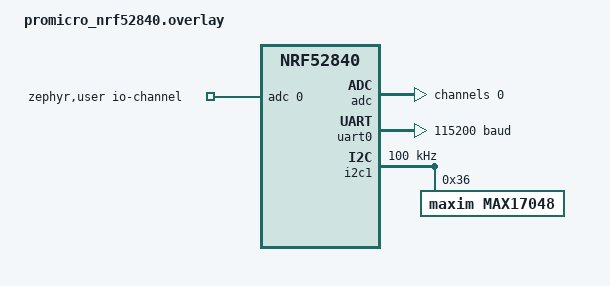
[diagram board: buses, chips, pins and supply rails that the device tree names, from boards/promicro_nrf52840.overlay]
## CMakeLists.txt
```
cmake_minimum_required(VERSION 3.20.0)
find_package(Zephyr REQUIRED HINTS $ENV{ZEPHYR_BASE})
project(temp_sensor)

target_sources(app PRIVATE
    src/main.c
    src/ble_adv.c
    src/temp.c
    src/temp_hw_zephyr.c
    src/battery.c
    src/build_info.c
    src/trinity_wdt.c
    src/trinity_canary.c
    src/trinity_flash.c
    src/trinity_stats.c
    src/trinity_fault.c
    src/trinity_boot.c
    drivers/fuel_gauge/max17048/max17048.c
)

target_include_directories(app PRIVATE
    src
    drivers/fuel_gauge/max17048
    ../../include
)
```

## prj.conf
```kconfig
# /******************************************************************************
# * \file prj.conf
# * \author MichaelLynnCSU (https://github.com/MichaelLynnCSU)
# * \date    2026-06-02
# *
# * \brief   Zephyr project configuration for nRF52840 temperature sensor node.
# *
# * \details Enables ADC, UART console, deferred logging, BLE
# *          broadcaster, flash storage, UF2 build output,
# *          stack sentinel, and heap checking for trinity fault coverage.
# *
# *          Trinity build mode is selected at west build time:
# *            BENCH: west build -- -DCONFIG_TRINITY_MODE_BENCH=y
# *            FIELD: west build (default — no extra flag needed)
# ******************************************************************************/

# ========================= CORE PERIPHERALS ==================================
CONFIG_ADC=y
CONFIG_PRINTK=y

# ========================= CONSOLE / UART ====================================
CONFIG_CONSOLE=y
CONFIG_UART_CONSOLE=y
CONFIG_UART_INTERRUPT_DRIVEN=y

# ========================= LOGGING ===========================================
CONFIG_LOG=y
CONFIG_LOG_BACKEND_UART=y
CONFIG_LOG_MODE_DEFERRED=y
CONFIG_LOG_DEFAULT_LEVEL=3
CONFIG_LOG_BUFFER_SIZE=16384
CONFIG_BT_LOG_LEVEL_OFF=y

# ========================= BLUETOOTH =========================================
CONFIG_BT=y
CONFIG_BT_PERIPHERAL=y
CONFIG_BT_BROADCASTER=y
CONFIG_BT_OBSERVER=y
CONFIG_BT_SMP=y
CONFIG_BT_PRIVACY=n
CONFIG_BT_GATT_SERVICE_CHANGED=n
CONFIG_BT_DEVICE_NAME="TempSensor"

# ========================= FLASH STORAGE =====================================
CONFIG_FLASH=y
CONFIG_FLASH_MAP=y
CONFIG_FLASH_PAGE_LAYOUT=y
CONFIG_MPU_ALLOW_FLASH_WRITE=y
CONFIG_STREAM_FLASH=y

# ========================= BUILD OUTPUT ======================================
CONFIG_BUILD_OUTPUT_UF2=y

# ========================= PERSISTENT SETTINGS ===============================
CONFIG_BT_SETTINGS=y
CONFIG_NVS=y
CONFIG_SETTINGS=y
CONFIG_SETTINGS_NVS=y

# ========================= FAULT COVERAGE ====================================
CONFIG_REBOOT=y
CONFIG_FAULT_DUMP=2
CONFIG_FRAME_POINTER=y
CONFIG_HW_STACK_PROTECTION=y
CONFIG_HEAP_MEM_POOL_IGNORE_MIN=y
CONFIG_THREAD_STACK_INFO=y
CONFIG_THREAD_NAME=y
CONFIG_INIT_STACKS=y

# ========================= RADIO / FLASH SYNC ================================
CONFIG_SOC_FLASH_NRF_RADIO_SYNC_TICKER=y

# ========================= TRINITY WATCHDOG ==================================
CONFIG_WATCHDOG=y
CONFIG_WDT_DISABLE_AT_BOOT=n

# ========================= TRINITY HEAP STATS ================================
CONFIG_SYS_HEAP_RUNTIME_STATS=y
CONFIG_HEAP_MEM_POOL_SIZE=4096
CONFIG_HEAP_MEM_POOL_IGNORE_MIN=y

# ========================= TRINITY THREAD STATS ==============================
CONFIG_THREAD_ANALYZER=y
CONFIG_THREAD_ANALYZER_USE_PRINTK=n
CONFIG_THREAD_ANALYZER_AUTO=n
CONFIG_THREAD_RUNTIME_STATS=y

# ========================= STACK SIZES =======================================
CONFIG_SYSTEM_WORKQUEUE_STACK_SIZE=3072
CONFIG_MAIN_STACK_SIZE=2048
CONFIG_ISR_STACK_SIZE=4096
CONFIG_BOOT_DELAY=2000
CONFIG_LOG_PROCESS_THREAD_STACK_SIZE=2048

# ========================= I2C / FUEL GAUGE ==================================
CONFIG_I2C=y
CONFIG_I2C_NRFX=y
CONFIG_FUEL_GAUGE=y
CONFIG_MAX17048=n
```

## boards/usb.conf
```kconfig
# USB CDC mode — console on /dev/ttyACM0
CONFIG_CONSOLE=y
CONFIG_UART_CONSOLE=y
CONFIG_LOG_BACKEND_RTT=n
CONFIG_USE_SEGGER_RTT=n
CONFIG_USB_DEVICE_STACK_NEXT=y
CONFIG_USBD_CDC_ACM_CLASS=y
```

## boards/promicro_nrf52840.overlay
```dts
/*******************************************************************************
 * \file promicro_nrf52840.overlay
 * \author MichaelLynnCSU (https://github.com/MichaelLynnCSU)
 * \date 01-01-2025
 *
 * \brief Devicetree overlay for Pro Micro nRF52840 reed sensor node.
 *
 * \details Configures:
 *          - ADC channel 0: VDD internal monitor, 12-bit, 1/6 gain
 *          - UART0: TX=P0.06, RX=P0.08 (overrides board default P0.09/P0.10)
 *          - Flash partitions:
 *            storage_partition @ 0xED000 (16KB) NVS settings
 *            log_partition     @ 0xF1000 (16KB) flash event log
 *          - I2C1: MAX17048 fuel gauge, SDA=P1.13, SCL=P1.15, 100kHz
 *
 * \warning Deletes the default storage_partition and redefines it
 *          alongside log_partition in the upper flash region.
 *
 * \note    UART pin override (2026-03-29):
 *          Board default (promicro_nrf52840-pinctrl.dtsi) is TX=P0.09,
 *          RX=P0.10. Overridden here to TX=P0.06, RX=P0.08 to match
 *          the physical header pins used on this node. Override uses
 *          direct node reference (&uart0_default) instead of wrapping
 *          in &pinctrl {} -- the wrapper caused duplicate label conflicts
 *          with the board dtsi, leaving both pin sets active and the
 *          board defaults winning.
 *
 * \note    BATTERY ADC HISTORY -- DO NOT RETRY THESE APPROACHES (2026-04-22):
 *          This board (Teyleten Robot Pro Micro nRF52840) has a HX3001 LDO
 *          regulator permanently in the power path. CR2032 (3V) → HX3001
 *          → 2.5V VDD. The LDO output is always 2.5V regardless of cell
 *          state. SWD connection does not affect this.
 *
 *          Four SAADC approaches were tested and failed:
 *
 *          TEST 1 -- P0.02 (AIN0) + 200k/100k divider:
 *          Worked but nonsensical. CR2032 max voltage (3V) is already within
 *          SAADC range (3.6V at ADC_GAIN_1_6). Divider attenuated a voltage
 *          that needed no attenuation, wasted resolution, added quiescent
 *          drain. Abandoned in favour of direct connection.
 *          NOTE: This is the only SAADC approach that produced stable
 *          readings. It remains the fallback if MAX17048 is unavailable.
 *
 *          TEST 2 -- P0.02 (AIN0) direct, no divider, no caps:
 *          Failed. CR2032 internal impedance (10-30 ohms) cannot source
 *          the SAADC input capacitance charge current fast enough. Rail
 *          collapses during sampling. Longer acquisition time (40us tested)
 *          made it worse -- more time connected means more charge drawn,
 *          deeper voltage sag. Fails even pre-BLE with radio fully idle.
 *
 *          TEST 3 -- NRF_SAADC_VDD internal monitor:
 *          Failed. NRF_SAADC_VDD measures the VDD rail (2.5V regulated),
 *          not the cell. Nordic recommendation assumes cell IS VDD (no
 *          regulator in path). That assumption does not hold on this board.
 *          Always reads ~1812 mV regardless of cell state.
 *
 *          TEST 4 -- P0.02 (AIN0) direct + 2x 10uF bulk caps:
 *          Failed. Datasheet cap recommendation assumes low-impedance source
 *          (Li-ion, LiPo). CR2032 at 10-30 ohms cannot recharge caps fast
 *          enough between samples. Hundreds of uF would be required --
 *          impractical for a coin cell node. Fails with radio idle and
 *          active. Radio state is not the determining factor.
 *
 * \note    I2C1 MAX17048 fix -- CURRENT SOLUTION (2026-05-01):
 *          Board default i2c1 uses nordic,nrf-twi (legacy). Must override
 *          to nordic,nrf-twim in overlay for EasyDMA operation under BLE.
 *          Direct node references used for pinctrl (&i2c1_default, &i2c1_sleep)
 *          -- wrapping in &pinctrl causes duplicate label conflicts.
 *          Adafruit PID 5580 breakout requires jumper from BAT pad to VIN
 *          pin -- on this board revision BAT and VIN are separate nets.
 *          Without the jumper CELL floats and IC NACKs all I2C transactions.
 *          Measures B+ directly with nanoamp bias current. Independent of
 *          VDD rail, SAADC, and BLE radio. See battery.c for implementation.
 *******************************************************************************/
/delete-node/ &storage_partition;
/ {
    zephyr,user {
        io-channels = <&adc 0>;
    };
};
&uart0_default {
    group1 {
        psels = <NRF_PSEL(UART_TX, 0, 6)>,
                <NRF_PSEL(UART_RX, 0, 8)>;
    };
};
&uart0_sleep {
    group1 {
        psels = <NRF_PSEL(UART_TX, 0, 6)>,
                <NRF_PSEL(UART_RX, 0, 8)>;
        low-power-enable;
    };
};
&adc {
    status = "okay";
    #address-cells = <1>;
    #size-cells = <0>;
    channel@0 {
        reg = <0>;
        zephyr,gain = "ADC_GAIN_1_6";
        zephyr,reference = "ADC_REF_INTERNAL";
        zephyr,acquisition-time = <ADC_ACQ_TIME_DEFAULT>;
        zephyr,input-positive = <NRF_SAADC_VDD>; /* reads regulated 2.5V rail --
                                                     retained for reference only,
                                                     MAX17048 handles cell measurement */
        zephyr,resolution = <12>;
    };
};
&flash0 {
    partitions {
        compatible = "fixed-partitions";
        #address-cells = <1>;
        #size-cells = <1>;
        storage_partition: partition@ed000 {
            label = "storage";
            reg = <0x000ed000 0x00004000>;
        };
        log_partition: partition@f1000 {
            label = "log-partition";
            reg = <0x000f1000 0x00004000>;
        };
    };
};
&uart0 {
    status = "okay";
    current-speed = <115200>;
};

&i2c1 {
    compatible = "nordic,nrf-twim";
    status = "okay";
    pinctrl-0 = <&i2c1_default>;
    pinctrl-1 = <&i2c1_sleep>;
    pinctrl-names = "default", "sleep";
    clock-frequency = <100000>;

    max17048: max17048@36 {
        compatible = "maxim,max17048";
        reg = <0x36>;
        status = "okay";
    };
};

&i2c1_default {
    group1 {
        psels = <NRF_PSEL(TWIM_SDA, 1, 13)>,
                <NRF_PSEL(TWIM_SCL, 1, 15)>;
    };
};

&i2c1_sleep {
    group1 {
        psels = <NRF_PSEL(TWIM_SDA, 1, 13)>,
                <NRF_PSEL(TWIM_SCL, 1, 15)>;
        low-power-enable;
    };
};
```

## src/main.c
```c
/******************************************************************************
 * \file    main.c
 * \author  MichaelLynnCSU (https://github.com/MichaelLynnCSU)
 * \date    2026-06-02
 *
 * \brief   Temperature sensor node entry point for ambient monitoring.
 *
 * \details Polls TMP36 via SAADC channel 1 (AIN1, P0.03) on a fixed
 *          interval and broadcasts temperature in tenths of °C over BLE
 *          manufacturer data advertisements. Battery SOC is included in
 *          the advertisement payload and updated every 5 minutes.
 *
 *          Hardware:
 *          - Board:    Teyleten Robot Pro Micro nRF52840
 *          - TMP36:    OUT → P0.02 (AIN1), VCC → 2.5V LDO, GND → GND
 *          - Battery:  MAX17048 fuel gauge over I2C1 (P1.13 SDA, P1.15 SCL)
 *
 * \note    No GPIO interrupt needed -- TMP36 is polled on TEMP_POLL_MS
 *          interval via k_sleep(). No semaphore, no debounce, no callback.
 *
 * \note    WDT:
 *          trinity_wdt_kick() called at top of temp_monitor_loop() and at
 *          each boot checkpoint. TEMP_POLL_MS (2000ms) is well inside the
 *          WDT window.
 *
 * \note    RESETREAS clear fix (inherited from reed-sensor 2026-03-27):
 *          RESETREAS read and cleared at very top of main() before any
 *          other code runs. Register is latched OR-history -- must be
 *          explicitly cleared to prevent stale bits surviving across boots.
 *
 * \note    Battery read before BLE (inherited from reed-sensor 2026-04-22):
 *          battery_read_soc() called before bt_enable() while VDD is
 *          stable. bt_enable() current spike can affect SAADC rail.
 *          Pre-populated into g_mfg_data via ble_adv_set_batt() so the
 *          first advertisement always carries a valid SOC.
 *
 * \note    Initial temp read before BLE thread:
 *          temp_read_decidegc() called before bt_enable() and pushed into
 *          g_ble_msgq so the first advertisement carries a real reading.
 ******************************************************************************/

#include <zephyr/kernel.h>
#include <zephyr/devicetree.h>
#include <zephyr/logging/log.h>
#include <nrf.h>
#include <string.h>
#include "ble_adv.h"
#include "battery.h"
#include "temp.h"
#include "trinity_log.h"
#include "main.h"

LOG_MODULE_REGISTER(temp_main, LOG_LEVEL_INF);

#define BLE_STACK_SIZE  4096
#define BLE_PRIORITY    5

/*----------------------------------------------------------------------------*/

static void temp_monitor_loop(void)
{
    int     err        = 0;
    int     batt_tick  = 0;
    int     stats_tick = 0;
    int16_t temp       = 0;
    uint8_t soc        = 0;

    while (1)
    {
        trinity_wdt_kick();

        k_sleep(K_MSEC(TEMP_POLL_MS));

        if (++batt_tick >= BATT_UPDATE_TICKS)
        {
            batt_tick = 0;
            soc = battery_read_soc();
            ble_adv_set_batt(soc);
            LOG_INF("[BATT] SOC=%d%%", soc);
        }

        if (++stats_tick >= STATS_INTERVAL_TICKS)
        {
            stats_tick = 0;
            trinity_log_heap_stats();
            trinity_log_task_stats();
        }

        temp = temp_read_decidegc();
        if (TEMP_READ_ERROR == temp)
        {
            LOG_WRN("[TEMP] Read error, skipping broadcast");
            continue;
        }

        err = k_msgq_put(&g_ble_msgq, &temp, K_NO_WAIT);
        if (0 != err) { LOG_WRN("[TEMP] msgq full, drop (err=%d)", err); }
    }
}

/*----------------------------------------------------------------------------*/

int main(void)
{
    int      err          = 0;
    int16_t  init_temp    = 0;
    uint8_t  soc          = 0;
    uint32_t reset_reason = 0;
    k_tid_t  tid;

    static K_THREAD_STACK_DEFINE(ble_stack, BLE_STACK_SIZE);
    static struct k_thread ble_thread_data;

    reset_reason = NRF_POWER->RESETREAS;
    NRF_POWER->RESETREAS = 0xFFFFFFFF;

#if !defined(CONFIG_TRINITY_MODE_BENCH)
    g_init_stage = TRINITY_STAGE_WDT_INIT;
    trinity_wdt_init();
    trinity_wdt_kick();
#endif

    LOG_INF("=== TempSensor Boot ===");
    trinity_log_dump_previous();

    if (trinity_log_init() == 0)
    {
        trinity_log_boot_reason(reset_reason);
    }
    trinity_wdt_kick();

    trinity_log_dump_previous_deferred();

#if defined(CONFIG_TRINITY_MODE_BENCH)
    g_init_stage = TRINITY_STAGE_WDT_INIT;
    trinity_wdt_init();
    trinity_wdt_kick();
#endif

    if (0 != battery_init()) { LOG_WRN("Battery init failed, SOC will read 0"); }
    trinity_wdt_kick();

    if (0 != temp_init()) { LOG_WRN("Temp init failed, readings will error"); }
    trinity_wdt_kick();

    /* Read battery before BLE -- VDD stable, radio idle. */
    soc = battery_read_soc();
    ble_adv_set_batt(soc);
    LOG_INF("Pre-BLE battery mV: %d", battery_read_mv());
    LOG_INF("Pre-BLE battery SOC: %d%%", soc);
    trinity_wdt_kick();

    /* Read initial temperature before BLE -- SAADC stable, radio idle. */
    init_temp = temp_read_decidegc();
    if (TEMP_READ_ERROR != init_temp)
    {
        LOG_INF("Pre-BLE temp: %d.%d°C",
                (int)(init_temp / 10),
                (int)(init_temp < 0 ? -(init_temp % 10) : init_temp % 10));

        err = k_msgq_put(&g_ble_msgq, &init_temp, K_NO_WAIT);
        if (0 != err) { LOG_WRN("Initial temp msgq put failed (err=%d)", err); }
    }
    else
    {
        LOG_WRN("Initial temp read failed");
    }
    trinity_wdt_kick();

    tid = k_thread_create(&ble_thread_data,
                           ble_stack, BLE_STACK_SIZE,
                           ble_thread,
                           NULL, NULL, NULL,
                           BLE_PRIORITY, 0, K_NO_WAIT);
    if (NULL == tid) { LOG_ERR("BLE thread create failed"); return -ENOMEM; }
    k_thread_name_set(tid, "ble_thread");

    trinity_wdt_kick();

    LOG_INF("BLE thread spawned");
    LOG_INF("Monitoring temperature");

    temp_monitor_loop();

    return 0;
}
```

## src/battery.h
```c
/******************************************************************************
 * \file battery.h
 * \author MichaelLynnCSU (https://github.com/MichaelLynnCSU)
 * \date 01-01-2025
 *
 * \brief Battery measurement interface for nRF52840 reed sensor.
 *
 * \details SOC and voltage via MAX17048 fuel gauge over I2C1.
 *          See battery.c for full implementation and debugging history.
 *
 * \note    mv_to_soc() retained for fallback to Test 1 (resistor divider)
 *          if MAX17048 hardware becomes unavailable. Do not remove.
 ******************************************************************************/

#ifndef INCLUDE_BATTERY_H_
#define INCLUDE_BATTERY_H_

#include <stdint.h>

/* CR2032 voltage range for SOC calculation -- used by mv_to_soc() fallback.
 * BATT_MV_MAX: nominal full cell voltage (3.0V).
 * BATT_MV_MIN: cutoff -- cell considered dead below this level (2.0V).
 * BATT_MV_RANGE: usable window in mV. */
#define BATT_MV_MAX    3000
#define BATT_MV_MIN    2000
#define BATT_MV_RANGE  1000

/**
 * \brief  Map a raw millivolt reading to a SOC percentage (0-100).
 *         Fallback for Test 1 resistor divider approach if MAX17048
 *         hardware is unavailable. Not used in current implementation.
 * \param  mv  Cell voltage in millivolts.
 * \return SOC percent clamped to [0, 100].
 */
static inline uint8_t mv_to_soc(int mv)
{
    if (mv >= BATT_MV_MAX) { return 100u; }
    if (mv <= BATT_MV_MIN) { return 0u;   }
    return (uint8_t)((mv - BATT_MV_MIN) * 100 / BATT_MV_RANGE);
}

/** \brief Initialize MAX17048 fuel gauge via I2C1.
 *  \return 0 on success, negative errno on failure. */
int battery_init(void);

/** \brief Read battery voltage in millivolts from MAX17048.
 *  \return Voltage in mV on success, -EIO on failure. */
int battery_read_mv(void);

/** \brief Read battery SOC percent (0-100) from MAX17048.
 *         Clamped to 100 -- ModelGauge reports >100 on fresh cells.
 *         Logs warning and returns 0 on read failure.
 *  \return SOC percent. */
uint8_t battery_read_soc(void);

/** \brief Print battery voltage and status to console and flash log. */
void battery_print_status(void);

#endif /* INCLUDE_BATTERY_H_ */
```

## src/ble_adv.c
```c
/******************************************************************************
 * \file    ble_adv.c
 * \author  MichaelLynnCSU (https://github.com/MichaelLynnCSU)
 * \date    2026-06-02
 *
 * \brief   BLE advertising and thread for nRF52840 temp sensor node.
 *
 * \details Slow-interval broadcaster advertisement. Manufacturer data
 *          payload carries temperature in tenths of °C (int16, 2 bytes
 *          little-endian), battery SOC (1 byte), and tx_id (2 bytes).
 *
 *          MFG data layout (6 bytes):
 *          [0] = MFG_COMPANY_ID  (0xAE)
 *          [1] = temp_decidegc low byte
 *          [2] = temp_decidegc high byte
 *          [3] = batt_soc        (0-100%)
 *          [4] = tx_id low byte  (little-endian)
 *          [5] = tx_id high byte (little-endian)
 *
 * \note    Inherited from reed-sensor:
 *          bt_le_adv_update_data() used instead of stop/start to avoid
 *          prepare_cb race (lll_adv.c:1041) under rapid updates.
 *          ble_thread uses K_TIMEOUT_ABS_TICKS (not K_FOREVER) so WDT
 *          is fed even during quiet periods.
 *
 * \note    Structured event tracing -- tx_id (2026-06-16):
 *          s_tx_id counter added. Incremented on every ble_broadcast()
 *          call. Stamped into g_mfg_data[4..5] little-endian before
 *          bt_le_adv_update_data(). Hub reads it with mfg_len >= 6 guard.
 *          Old hub firmware ignores extra bytes -- no ABI break.
 *
 *          tx_id is a per-session counter (RAM only, resets each boot).
 *          Correlation key is (MAC + tx_id) within a bounded time window.
 *          It is NOT a global unique message ID -- do not use for dedup
 *          or audit. Log lines on both sides share the same key:
 *
 *            [ble_adv] tx_id=5 temp=25.3°C batt=87%
 *            [BLE_TEMP] tx_id=5 event_id=101 slot=0 temp=25.3°C batt=87%
 *
 *          To apply this pattern to the next device type:
 *          1. Add MFG_TX_ID_LO_IDX / HI_IDX defines in main.h.
 *          2. Grow MFG_DATA_SIZE by 2 in main.h.
 *          3. Add s_tx_id static here, increment before payload write.
 *          4. Stamp [LO] and [HI] bytes, LOG_INF tx_id=.
 *          5. Hub side: guard on mfg_len >= (HI_IDX + 1), default 0.
 ******************************************************************************/

#include "ble_adv.h"
#include "main.h"
#include "trinity_log.h"
#include <zephyr/bluetooth/bluetooth.h>
#include <zephyr/bluetooth/hci.h>
#include <zephyr/logging/log.h>
#include <zephyr/settings/settings.h>

LOG_MODULE_REGISTER(ble_adv, LOG_LEVEL_INF);

#define HEARTBEAT_INTERVAL_SEC  240

static uint16_t s_tx_id = 0; /**< per-session broadcast counter; RAM only,
                               *   resets each boot. Not a global unique ID.
                               *   Correlation key is (MAC + tx_id) within a
                               *   bounded time window.                       */

/* Queue carries int16_t values (2 bytes each), 8 slots, 2-byte alignment */
K_MSGQ_DEFINE(g_ble_msgq, sizeof(int16_t), 8, 2);

static uint8_t g_mfg_data[MFG_DATA_SIZE] =
    {MFG_COMPANY_ID, 0x00, 0x00, 0x00, 0x00, 0x00};

static struct bt_data g_adv_data[] =
{
    BT_DATA_BYTES(BT_DATA_FLAGS,
        BT_LE_AD_GENERAL | BT_LE_AD_NO_BREDR),
    BT_DATA(BT_DATA_NAME_COMPLETE,
        CONFIG_BT_DEVICE_NAME,
        sizeof(CONFIG_BT_DEVICE_NAME) - 1),
    BT_DATA(BT_DATA_MANUFACTURER_DATA,
        g_mfg_data,
        sizeof(g_mfg_data))
};

static struct bt_le_adv_param g_adv_param =
{
    .id           = BT_ID_DEFAULT,
    .options      = BT_LE_ADV_OPT_USE_IDENTITY,
    .interval_min = BT_GAP_ADV_SLOW_INT_MIN,
    .interval_max = BT_GAP_ADV_SLOW_INT_MAX,
};

/*----------------------------------------------------------------------------*/

static void heartbeat_handler(struct k_timer *p_timer)
{
    int16_t temp = 0;
    int     ret  = 0;

    (void)p_timer;

    /* Re-broadcast current temperature on heartbeat tick */
    temp = (int16_t)((g_mfg_data[MFG_TEMP_HI_IDX] << 8) |
                      g_mfg_data[MFG_TEMP_LO_IDX]);
    ret = k_msgq_put(&g_ble_msgq, &temp, K_NO_WAIT);
    if (0 != ret) { LOG_WRN("[HB] msgq full, temp drop (err=%d)", ret); }
    else          { LOG_INF("[HB] Sent"); }
}

K_TIMER_DEFINE(g_heartbeat_timer, heartbeat_handler, NULL);

/*----------------------------------------------------------------------------*/

int ble_broadcast(int16_t temp_decidegc, uint8_t batt_soc)
{
    int err = 0;

    s_tx_id++;

    g_mfg_data[MFG_TEMP_LO_IDX] = (uint8_t)(temp_decidegc & 0xFF);
    g_mfg_data[MFG_TEMP_HI_IDX] = (uint8_t)((temp_decidegc >> 8) & 0xFF);
    g_mfg_data[MFG_BATT_IDX]    = batt_soc;
    g_mfg_data[MFG_TX_ID_LO_IDX] = (uint8_t)(s_tx_id & 0xFF);
    g_mfg_data[MFG_TX_ID_HI_IDX] = (uint8_t)(s_tx_id >> 8);

    err = bt_le_adv_update_data(g_adv_data, ARRAY_SIZE(g_adv_data), NULL, 0);
    if (0 != err)
    {
        LOG_ERR("[BLE] Adv update failed (err=%d)", err);
    }
    else
    {
        LOG_INF("[BLE] tx_id=%u temp=%d.%d°C batt=%d%%",
                (unsigned)s_tx_id,
                (int)(temp_decidegc / 10),
                (int)(temp_decidegc < 0 ?
                      -(temp_decidegc % 10) : temp_decidegc % 10),
                batt_soc);
    }

    return err;
}

/*----------------------------------------------------------------------------*/

void ble_adv_set_batt(uint8_t batt_soc)
{
    g_mfg_data[MFG_BATT_IDX] = batt_soc;
}

/*----------------------------------------------------------------------------*/

void ble_thread(void *p_unused1, void *p_unused2, void *p_unused3)
{
    int      err          = 0;
    int16_t  temp         = 0;
    uint32_t update_count = 0;

    (void)p_unused1;
    (void)p_unused2;
    (void)p_unused3;

    LOG_INF("[BLE] Thread started");

    err = bt_enable(NULL);
    if (0 != err) { LOG_ERR("[BLE] Init failed (err=%d)", err); return; }
    trinity_wdt_kick();

    LOG_INF("[BLE] Bluetooth enabled");

    if (IS_ENABLED(CONFIG_BT_SETTINGS))
    {
        err = settings_load();
        if (0 != err) { LOG_WRN("[BLE] Settings load failed (err=%d)", err); }
        trinity_wdt_kick();
    }

    LOG_INF("[BLE] Initial batt=%d%%", g_mfg_data[MFG_BATT_IDX]);

    err = bt_le_adv_start(&g_adv_param,
                           g_adv_data,
                           ARRAY_SIZE(g_adv_data),
                           NULL, 0);
    if (0 != err) { LOG_ERR("[BLE] Advertising start failed (err=%d)", err); return; }

    LOG_INF("[BLE] Advertising active | %s", CONFIG_BT_DEVICE_NAME);

    k_timer_start(&g_heartbeat_timer,
                  K_SECONDS(HEARTBEAT_INTERVAL_SEC),
                  K_SECONDS(HEARTBEAT_INTERVAL_SEC));

    while (1)
    {
        trinity_wdt_kick();

        (void)k_msgq_get(&g_ble_msgq, &temp,
                          K_TIMEOUT_ABS_TICKS(
                             k_uptime_ticks() +
                             k_ms_to_ticks_ceil32(TEMP_POLL_MS)));

        trinity_wdt_kick();

        update_count++;
        LOG_INF("[BLE] Update #%u temp=%d.%d°C batt=%d%%",
                update_count,
                (int)(temp / 10),
                (int)(temp < 0 ? -(temp % 10) : temp % 10),
                g_mfg_data[MFG_BATT_IDX]);

        (void)ble_broadcast(temp, g_mfg_data[MFG_BATT_IDX]);
    }
}
```

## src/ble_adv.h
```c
/******************************************************************************
 * \file    ble_adv.h
 * \author  MichaelLynnCSU (https://github.com/MichaelLynnCSU)
 * \date    2026-06-02
 *
 * \brief   BLE advertising API for nRF52840 temp sensor node.
 *
 * \details MFG data layout (4 bytes):
 *          [0] = MFG_COMPANY_ID  (0xAE)
 *          [1] = temp_decidegc low byte   (int16 little-endian)
 *          [2] = temp_decidegc high byte
 *          [3] = batt_soc                 (0-100%)
 ******************************************************************************/

#ifndef BLE_ADV_H
#define BLE_ADV_H

#include <stdint.h>
#include <zephyr/kernel.h>

/** Message queue: temp monitor puts int16_t temp readings, BLE thread
 *  consumes and broadcasts. Two bytes per message, aligned to 2. */
extern struct k_msgq g_ble_msgq;

/**
 * \brief  BLE thread entry point. Enables BT stack, starts slow-interval
 *         broadcaster advertisement, consumes g_ble_msgq and calls
 *         ble_broadcast() on each reading or heartbeat.
 *         Never returns — run via k_thread_create().
 */
void ble_thread(void *p_unused1, void *p_unused2, void *p_unused3);

/**
 * \brief  Write temperature and battery SOC into manufacturer data and
 *         refresh advertisement atomically via bt_le_adv_update_data().
 *
 * \param  temp_decidegc  Temperature in tenths of °C (int16, little-endian).
 * \param  batt_soc       Battery SOC percent (0-100).
 * \return 0 on success, negative errno on failure.
 */
int ble_broadcast(int16_t temp_decidegc, uint8_t batt_soc);

/**
 * \brief  Write battery SOC directly into manufacturer data payload.
 *         Called from main() before BLE thread starts so the initial
 *         advertisement carries a valid battery reading.
 *
 * \param  batt_soc  Battery SOC percent (0-100).
 */
void ble_adv_set_batt(uint8_t batt_soc);

#endif /* BLE_ADV_H */
```

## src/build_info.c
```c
#include <zephyr/kernel.h>

__attribute__((used, retain, section(".rodata")))
const char trinity_build_mode[] = "TRINITY_BUILD_MODE=" CONFIG_TRINITY_MODE_STR;

__attribute__((used, retain, section(".rodata")))
const char trinity_build_date[] = "TRINITY_BUILD_DATE=" __DATE__ " " __TIME__;
```

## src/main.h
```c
#ifndef MAIN_H
#define MAIN_H

#include <stdint.h>

#define BATT_UPDATE_TICKS    150   /**< poll ticks between battery reads   */
#define STATS_INTERVAL_TICKS  30   /**< poll ticks between stat dumps      */

/*
 * MFG data layout (6 bytes):
 * [0] = MFG_COMPANY_ID  (0xAE)
 * [1] = temp_decidegc low byte   (int16 little-endian)
 * [2] = temp_decidegc high byte
 * [3] = batt_soc                 (0-100%)
 * [4] = tx_id low byte           (little-endian, per-wake-session counter)
 * [5] = tx_id high byte          (little-endian, per-wake-session counter)
 *
 * tx_id is a per-session counter (RAM only, resets each boot).
 * Correlation key is (MAC + tx_id) within a bounded time window.
 * It is NOT a global unique message ID -- do not use for dedup or audit.
 *
 * Graceful degradation: hub checks mfg_len >= 6 before reading [4..5].
 * Old firmware (4-byte payload) produces tx_id=0 on the hub -- no crash.
 */
#define MFG_DATA_SIZE        6     /**< BLE manufacturer data payload bytes */
#define MFG_COMPANY_ID    0xAE    /**< BLE company ID for temp sensors     */
#define MFG_TEMP_LO_IDX     1     /**< temp low byte index                 */
#define MFG_TEMP_HI_IDX     2     /**< temp high byte index                */
#define MFG_BATT_IDX        3     /**< battery SOC byte index              */
#define MFG_TX_ID_LO_IDX    4     /**< tx_id low byte index                */
#define MFG_TX_ID_HI_IDX    5     /**< tx_id high byte index               */

#define TEMP_POLL_MS        2000   /**< main loop poll interval ms         */

#endif /* MAIN_H */
```

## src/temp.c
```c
/******************************************************************************
 * \file    temp.c
 * \author  MichaelLynnCSU (https://github.com/MichaelLynnCSU)
 * \date    2026-06-02
 *
 * \brief   TMP36 temperature measurement for nRF52840 temp sensor node.
 *
 * \details Pure business logic -- no Zephyr headers.
 *          Hardware access delegated to temp_hw_zephyr.c via temp_hw.h.
 *          Returns temperature in tenths of °C (int16_t).
 *          Returns TEMP_READ_ERROR on failure.
 *
 *          TMP36 transfer function:
 *          Vout (mV) = 500 + (temp_C * 10)
 *          decidegC  = Vout_mV - 500
 *
 *          ADC scaling (performed here, not in hw layer):
 *          ADC_GAIN_1_6, ADC_REF_INTERNAL (0.6V), 12-bit
 *          Full-scale = 3600 mV, max raw = 4095
 *          raw -> mV : raw * 3600 / 4095
 ******************************************************************************/

#include "temp.h"
#include "temp_hw.h"
#include "trinity_log.h"
#include <zephyr/logging/log.h>
#include <stdint.h>
#include <stdio.h>

LOG_MODULE_REGISTER(temp, LOG_LEVEL_INF);

#define TEMP_BUF_SIZE        48
#define ADC_RESOLUTION       12
#define ADC_VREF_MV          600
#define ADC_GAIN_DENOM       6
#define ADC_FULL_SCALE_MV    (ADC_VREF_MV * ADC_GAIN_DENOM)  /* 3600 mV */
#define ADC_MAX_RAW          ((1 << ADC_RESOLUTION) - 1)      /* 4095    */

/** raw -> mV: raw * 3600 / 4095 */
#define RAW_TO_MV(raw)      ((int32_t)(raw) * ADC_FULL_SCALE_MV / ADC_MAX_RAW)

/** mV -> tenths of °C: TMP36 offset 500 mV, 10 mV/°C */
#define MV_TO_DECIDEGC(mv)  ((int16_t)((mv) - 500))

/*----------------------------------------------------------------------------*/

int temp_init(void)
{
    int err = temp_hw_init();
    if (0 != err)
    {
        LOG_ERR("temp hardware init failed (err=%d)", err);
    }
    return err;
}

/*----------------------------------------------------------------------------*/

int16_t temp_read_decidegc(void)
{
    int16_t  raw      = 0;
    int32_t  mv       = 0;
    int16_t  decidegc = 0;
    char     buf[TEMP_BUF_SIZE] = {0};

    int err = temp_hw_read_raw(&raw);
    if (0 != err)
    {
        LOG_ERR("ADC read failed (err=%d)", err);
        return TEMP_READ_ERROR;
    }

    mv       = RAW_TO_MV(raw);
    decidegc = MV_TO_DECIDEGC(mv);

    LOG_INF("[TEMP] raw=%d mV=%d temp=%d.%d°C",
            (int)raw, (int)mv,
            (int)(decidegc / 10),
            (int)(decidegc < 0 ? -(decidegc % 10) : decidegc % 10));

    (void)snprintf(buf, sizeof(buf), "EVENT: TEMP %d.%d C\n",
                   (int)(decidegc / 10),
                   (int)(decidegc < 0 ? -(decidegc % 10) : decidegc % 10));
    trinity_log_event(buf);

    return decidegc;
}

/*----------------------------------------------------------------------------*/

void temp_print_status(void)
{
    int16_t t = temp_read_decidegc();

    if (TEMP_READ_ERROR == t)
    {
        LOG_ERR("[TEMP] Read failed");
        return;
    }

    LOG_INF("[TEMP] %d.%d°C",
            (int)(t / 10),
            (int)(t < 0 ? -(t % 10) : t % 10));
}
```

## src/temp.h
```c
/******************************************************************************
 * \file    temp.h
 * \author  MichaelLynnCSU (https://github.com/MichaelLynnCSU)
 * \date    2026-06-02
 *
 * \brief   TMP36 temperature sensor interface for nRF52840 temp sensor node.
 *
 * \details Single TMP36 read via SAADC channel 1 (AIN1, P0.03).
 *          Returns temperature in tenths of °C (int16_t) so the full
 *          signed range fits in the two-byte BLE payload without floats.
 *          Returns TEMP_READ_ERROR on ADC failure.
 *
 *          Hardware:
 *          - Board:    Teyleten Robot Pro Micro nRF52840
 *          - TMP36:    VCC → 2.5V VDD rail (HX3001 LDO output)
 *                      GND → GND
 *                      OUT → P0.03 (AIN1) — SAADC channel 1
 *
 * \warning VDD on this board is 2.5V (HX3001 LDO). TMP36 lower operating
 *          limit rises to approximately -25°C at 2.5V supply. Acceptable
 *          for indoor/ambient monitoring. For sub-zero operation power the
 *          TMP36 from an external 3V rail.
 *
 * \note    TMP36 transfer function:
 *          Vout (mV) = 500 + (temp_C * 10)
 *          temp_C    = (Vout_mV - 500) / 10
 *          Returned as tenths of °C: decidegC = Vout_mV - 500
 *          e.g. 25.0°C → 750 mV → returns 250
 *               -10.0°C → 400 mV → returns -100
 ******************************************************************************/

#ifndef TEMP_H
#define TEMP_H

#include <stdint.h>

/** Sentinel returned on ADC read failure. */
#define TEMP_READ_ERROR  INT16_MIN

/**
 * \brief  Initialise SAADC channel 1 for TMP36 measurement.
 * \return 0 on success, negative errno on failure.
 */
int temp_init(void);

/**
 * \brief  Read temperature from TMP36 on AIN1 (P0.03).
 * \return Temperature in tenths of °C, or TEMP_READ_ERROR on failure.
 *         Divide by 10 for degrees C.  e.g. 253 → 25.3 °C.
 */
int16_t temp_read_decidegc(void);

/**
 * \brief  Log current temperature reading at INFO level.
 */
void temp_print_status(void);

#endif /* TEMP_H */
```

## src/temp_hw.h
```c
#ifndef TEMP_HW_H
#define TEMP_HW_H
#include <stdint.h>
int    temp_hw_init(void);
int    temp_hw_read_raw(int16_t *out_raw);
#endif /* TEMP_HW_H */
```

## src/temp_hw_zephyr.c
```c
#include "temp_hw.h"
#include <zephyr/drivers/adc.h>
#include <zephyr/logging/log.h>
#include <hal/nrf_saadc.h>

LOG_MODULE_DECLARE(temp, LOG_LEVEL_INF);

#define ADC_RESOLUTION    12
#define ADC_VREF_MV       600
#define ADC_GAIN_DENOM    6

static const struct device *g_adc_hw = NULL;

static const struct adc_channel_cfg g_ch_cfg = {
    .gain             = ADC_GAIN_1_6,
    .reference        = ADC_REF_INTERNAL,
    .acquisition_time = ADC_ACQ_TIME_DEFAULT,
    .channel_id       = 0,
    .input_positive   = NRF_SAADC_INPUT_AIN0,
};

static int16_t g_sample_buf;

static const struct adc_sequence g_seq = {
    .channels    = BIT(0),
    .buffer      = &g_sample_buf,
    .buffer_size = sizeof(g_sample_buf),
    .resolution  = ADC_RESOLUTION,
};

int temp_hw_init(void)
{
    g_adc_hw = DEVICE_DT_GET(DT_NODELABEL(adc));
    if (!g_adc_hw || !device_is_ready(g_adc_hw)) {
        g_adc_hw = NULL;
        return -ENODEV;
    }
    return adc_channel_setup(g_adc_hw, &g_ch_cfg);
}

int temp_hw_read_raw(int16_t *out_raw)
{
    if (!g_adc_hw) return -ENODEV;
    int err = adc_read(g_adc_hw, &g_seq);
    if (err) return err;
    *out_raw = g_sample_buf;
    return 0;
}
```

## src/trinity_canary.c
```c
/******************************************************************************
 * \file trinity_canary.c
 * \brief Trinity pre-init canary and noinit variables -- nRF52840 Zephyr.
 *
 * \details Fully standalone -- no dependencies on other Trinity files.
 *          Owns all .noinit variables. Registers canary_pre_init() at
 *          PRE_KERNEL_1,0 so it runs before any driver SYS_INIT can crash.
 *
 * \note    Canary snapshot fix (2026-03-26):
 *          canary_pre_init() copies g_pre_init_canary into g_canary_snapshot
 *          before overwriting with CANARY_ALIVE. dump_previous() reads
 *          g_canary_snapshot so it sees the previous session's value, not
 *          the freshly-written CANARY_ALIVE from this boot.
 *
 * \note    Stat buffer heap fix (2026-03-28):
 *          s_stat_entries as a static BSS array crossed the .noinit boundary,
 *          trampling g_init_stage and other noinit vars on every stats cycle.
 *          All noinit variables are centralized here so the linker places
 *          them contiguously and the boundary is predictable.
 *
 * \note    g_noinit_guard:
 *          Set to 0xDEADBEEF on first valid boot. If read as 0 on a
 *          non-cold boot, BSS zeroing has overrun the .noinit boundary.
 ******************************************************************************/

#include "trinity_log.h"
#include "trinity_private.h"
#include <zephyr/init.h>

/* g_noinit_guard: BSS-bleed sentinel.
 * Read and written by trinity_flash.c in trinity_log_dump_core(). */
volatile uint32_t g_noinit_guard
    __attribute__((section(".noinit")));

/* g_init_stage: declared extern in trinity_log.h and trinity_private.h.
 * Written by main() before each risky init call. Read by trinity_flash.c
 * and trinity_fault.c. */
volatile uint32_t g_init_stage
    __attribute__((section(".noinit")));

/* g_pre_init_canary: written CANARY_ALIVE at PRE_KERNEL_1 and upgraded
 * to CANARY_BOOTED inside trinity_log_init(). Reflects CURRENT boot. */
static volatile uint32_t g_pre_init_canary
    __attribute__((section(".noinit")));

/* g_canary_snapshot: copy of g_pre_init_canary saved by canary_pre_init()
 * BEFORE overwriting with CANARY_ALIVE. Holds PREVIOUS session's value.
 * Read by trinity_flash.c in trinity_log_dump_core(). */
volatile uint32_t g_canary_snapshot
    __attribute__((section(".noinit")));

/**
 * \brief  Write alive canary at earliest possible boot point.
 *
 * \details Runs at PRE_KERNEL_1,0 -- before any driver SYS_INIT that could
 *          crash. Saves previous session canary into g_canary_snapshot before
 *          overwriting so dump_previous() can classify PRE vs POST crash.
 */
static int canary_pre_init(void)
{
    g_canary_snapshot = g_pre_init_canary;
    g_pre_init_canary = TRINITY_CANARY_ALIVE;
    return 0;
}
SYS_INIT(canary_pre_init, PRE_KERNEL_1, 0);

/**
 * \brief  Mark Trinity init as completed. Called by trinity_log_init().
 *
 * \details Upgrades canary from ALIVE to BOOTED so next boot's dump can
 *          classify the crash as POST_INIT rather than PRE_INIT.
 */
void trinity_canary_set_booted(void)
{
    g_pre_init_canary = TRINITY_CANARY_BOOTED;
}
```

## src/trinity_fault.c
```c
/******************************************************************************
 * \file trinity_fault.c
 * \brief Trinity fault handler -- nRF52840 Zephyr.
 * \board temp-sensor
 *
 * \details Overrides k_sys_fatal_error_handler(). Captures CFSR/HFSR/
 *          MMFAR/BFAR/PC/LR/SP/cycles and writes to flash via write_panic()
 *          (mutex-free path from trinity_private.h).
 *
 *          Depends on:
 *            trinity_flash.c -- write_panic() via trinity_private.h
 *            trinity_canary.c -- g_init_stage via trinity_private.h
 *
 *          Does NOT call trinity_log_event() -- that acquires g_flash_mutex
 *          which may be held by the crashing thread.
 *
 * \note    k_cycle_get_32() in fault handler (2026-03-25):
 *          k_uptime_get_32() depends on SysTick ISR which may be dead at
 *          fault time. k_cycle_get_32() reads DWT hardware counter directly.
 *
 * \note    g_initialized_magic sentinel (2026-03-25):
 *          write_panic() validates TRINITY_INIT_MAGIC before touching flash
 *          to avoid nested faults if Trinity never completed init.
 ******************************************************************************/

#include "trinity_log.h"
#include "trinity_private.h"
#include <zephyr/kernel.h>
#include <zephyr/fatal.h>
#include <zephyr/sys/reboot.h>
#include <stdio.h>
#include <nrf.h>

#define CRASH_BUF_SIZE  112u

/* ARM Cortex-M4 SCB fault register addresses */
#define SCB_CFSR   (*((volatile uint32_t *)0xE000ED28))
#define SCB_HFSR   (*((volatile uint32_t *)0xE000ED2C))
#define SCB_MMFAR  (*((volatile uint32_t *)0xE000ED34))
#define SCB_BFAR   (*((volatile uint32_t *)0xE000ED38))
#define CFSR_MMARVALID  (1u << 7)
#define CFSR_BFARVALID  (1u << 15)

static const char *reason_to_str(unsigned int reason)
{
   switch (reason)
   {
      case K_ERR_CPU_EXCEPTION:  { return "CPU_EXCEPTION";  }
      case K_ERR_SPURIOUS_IRQ:   { return "SPURIOUS_IRQ";   }
      case K_ERR_STACK_CHK_FAIL: { return "STACK_OVERFLOW"; }
      case K_ERR_KERNEL_OOPS:    { return "KERNEL_OOPS";    }
      case K_ERR_KERNEL_PANIC:   { return "KERNEL_PANIC";   }
      default:                   { return "UNKNOWN";        }
   }
}

/* stage_to_str is only referenced in the BENCH build path below. */
#if defined(CONFIG_TRINITY_MODE_BENCH)
static const char *stage_to_str(uint32_t stage)
{
   switch (stage)
   {
      case TRINITY_STAGE_RESET:     { return "RESET";     }
      case TRINITY_STAGE_GPIO:      { return "GPIO";      }
      case TRINITY_STAGE_BATTERY:   { return "BATTERY";   }
      case TRINITY_STAGE_NVS_INIT:  { return "NVS_INIT";  }
      case TRINITY_STAGE_NVS_LOAD:  { return "NVS_LOAD";  }
      case TRINITY_STAGE_LOG_INIT:  { return "LOG_INIT";  }
      case TRINITY_STAGE_WDT_INIT:  { return "WDT_INIT";  }
      case TRINITY_STAGE_BT_ENABLE: { return "BT_ENABLE"; }
      case TRINITY_STAGE_BT_ADV:    { return "BT_ADV";    }
      case TRINITY_STAGE_MAIN_LOOP: { return "MAIN_LOOP"; }
      default:                      { return "UNKNOWN";   }
   }
}
#endif /* CONFIG_TRINITY_MODE_BENCH */

void k_sys_fatal_error_handler(unsigned int reason,
                                const struct arch_esf *p_esf)
{
   uint32_t cfsr   = SCB_CFSR;
   uint32_t hfsr   = SCB_HFSR;
   uint32_t mmfar  = (cfsr & CFSR_MMARVALID) ? SCB_MMFAR : 0u;
   uint32_t bfar   = (cfsr & CFSR_BFARVALID) ? SCB_BFAR  : 0u;
   uint32_t cycles = k_cycle_get_32();

   char line1[CRASH_BUF_SIZE] = {0};
   char line2[CRASH_BUF_SIZE] = {0};

   if (NULL != p_esf)
   {
      (void)snprintf(line1, sizeof(line1),
                     "EVENT: CRASH | TYPE: %s(%u)"
                     " | PC: 0x%08X | LR: 0x%08X | SP: 0x%08X"
                     " | CYC: %u | STG: 0x%04X\n",
                     reason_to_str(reason), reason,
                     (unsigned int)p_esf->basic.pc,
                     (unsigned int)p_esf->basic.lr,
                     (unsigned int)p_esf,
                     cycles,
                     (unsigned int)g_init_stage);
   }
   else
   {
      (void)snprintf(line1, sizeof(line1),
                     "EVENT: CRASH | TYPE: %s(%u) | PC: unknown"
                     " | CYC: %u | STG: 0x%04X\n",
                     reason_to_str(reason), reason,
                     cycles,
                     (unsigned int)g_init_stage);
   }

   (void)snprintf(line2, sizeof(line2),
                  "EVENT: FAULT | CFSR: 0x%08X | HFSR: 0x%08X"
                  " | MMFAR: 0x%08X | BFAR: 0x%08X\n",
                  cfsr, hfsr, mmfar, bfar);

   /* Original rich diagnostic lines -- unchanged, zero fidelity loss.
    * These carry Zephyr/nRF-specific detail (raw reason string, cycle
    * count, SP, init-stage) that has no place in the architecture-neutral
    * TRINITY_CRASH_RECORD_X, so they stay here, board-owned, exactly as
    * before. */
   write_panic(line1, (uint16_t)strlen(line1));
   write_panic(line2, (uint16_t)strlen(line2));

   /* v2 crash contract: additionally build the canonical cross-board
    * record from the same registers already captured above, and call
    * trinity_crash_store() (trinity_flash.c). This does NOT replace the
    * two lines above -- it writes one further, compact, canonical-format
    * line, giving every board (STM32 + nRF) the same
    * "a TRINITY_CRASH_RECORD_X was stored" entry point, without eroding
    * this board's existing richer diagnostics. */
   TRINITY_CRASH_RECORD_X record = {0};
   record.magic        = TRINITY_CRASH_MAGIC;
   record.version      = TRINITY_CRASH_VERSION;
   record.arch         = TRINITY_ARCH_CORTEX_M;
   record.error        = (K_ERR_STACK_CHK_FAIL == reason) ? eTRINITY_ERR_STACK
                                                            : eTRINITY_ERR_HARDFAULT;
   record.reset_reason = 0u;
   record.pc           = (NULL != p_esf) ? (uint32_t)p_esf->basic.pc : 0u;
   record.lr           = (NULL != p_esf) ? (uint32_t)p_esf->basic.lr : 0u;
   record.arch_data.cortex_m.cfsr  = cfsr;
   record.arch_data.cortex_m.hfsr  = hfsr;
   record.arch_data.cortex_m.mmfar = mmfar;
   record.arch_data.cortex_m.bfar  = bfar;
   trinity_crash_store(&record);

#if defined(CONFIG_TRINITY_MODE_BENCH)
   printk("\n[TRINITY] === FAULT HALT ===\n");
   printk("[TRINITY] %s", line1);
   printk("[TRINITY] %s", line2);
   printk("[TRINITY] STG  : 0x%04X -- %s\n",
          (unsigned int)g_init_stage, stage_to_str(g_init_stage));
   printk("[TRINITY] === HALTED -- attach JLink or read RTT ===\n");
   __disable_irq();
   while (1) {}

#elif defined(CONFIG_TRINITY_MODE_USB)
   k_sleep(K_MSEC(500));
   __disable_irq();
   NVIC_SystemReset();

#else
   __disable_irq();
   NVIC_SystemReset();
#endif
}
```
